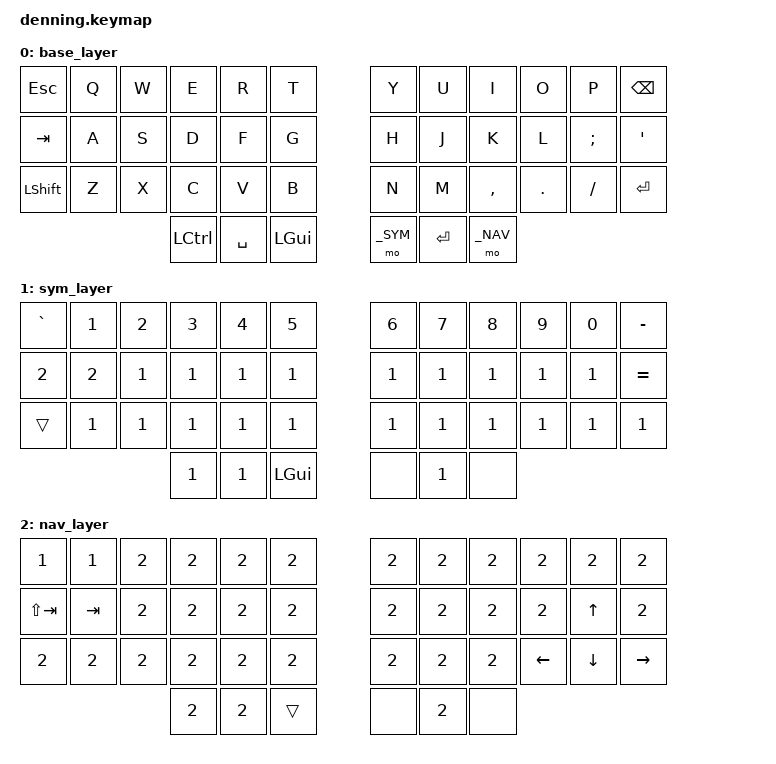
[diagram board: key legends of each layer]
#include <behaviors.dtsi>
#include <dt-bindings/zmk/keys.h>
#include <dt-bindings/zmk/bt.h>

#define _BASE    0
#define _SYM     1
#define _NAV     2

/ {
    keymap {
        compatible = "zmk,keymap";
            base_layer {
                bindings = <

    &kp ESC     &kp Q  &kp W  &kp E &kp R     &kp T                          &kp Y     &kp U     &kp I      &kp O    &kp P      &kp BACKSPACE
    &kp TAB     &kp A  &kp S  &kp D &kp F     &kp G                          &kp H     &kp J     &kp K      &kp L    &kp SEMI   &kp SQT
    &kp LSHIFT  &kp Z  &kp X  &kp C &kp V     &kp B                          &kp N     &kp M     &kp COMMA  &kp DOT  &kp SLASH  &kp ENTER
                                    &kp LCTRL &kp SPACE  &kp LGUI   &mo _SYM &kp ENTER &mo _NAV
                            >;
            };

            sym_layer {
                bindings = <

    &kp GRAVE  &kp N1  &kp N2  &kp N3  &kp N4  &kp N5                       &kp N6  &kp N7  &kp N8  &kp N9  &kp N0  &kp MINUS
    &kp N2     &kp N2  &kp N1  &kp N1  &kp N1  &kp N1                       &kp N1  &kp N1  &kp N1  &kp N1  &kp N1  &kp EQUAL
    &trans     &kp N1  &kp N1  &kp N1  &kp N1  &kp N1                       &kp N1  &kp N1  &kp N1  &kp N1  &kp N1  &kp N1
                                    &kp N1  &kp N1  &kp LGUI           &none     &kp N1  &none

                            >;
            };

            nav_layer {
                bindings = <

    &kp N1  &kp N1                    &kp N2  &kp N2  &kp N2  &kp N2                         &kp N2  &kp N2  &kp N2  &kp N2  &kp N2  &kp N2
    &kp LS(TAB)  &kp TAB  &kp N2  &kp N2  &kp N2  &kp N2                         &kp N2  &kp N2  &kp N2  &kp N2  &kp UP_ARROW  &kp N2
    &kp N2  &kp N2                    &kp N2  &kp N2  &kp N2  &kp N2                         &kp N2  &kp N2  &kp N2  &kp LEFT_ARROW  &kp DOWN_ARROW  &kp RIGHT_ARROW
                                                      &kp N2  &kp N2  &trans          &none  &kp N2  &none

                            >;
            };

    };

};
//forcebuild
